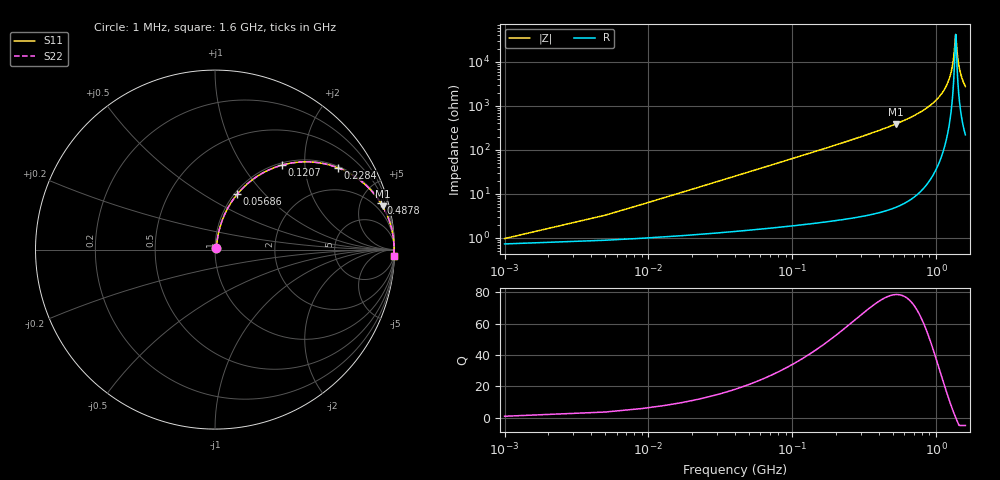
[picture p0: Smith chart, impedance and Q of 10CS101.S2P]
! Coilcraft 1008CS-101 Chip Inductor
! 02 July 2002
# MHZ S MA R 50
!Freq  MagS11  AngS11  MagS21  AngS21  MagS12  AngS12  MagS22  AngS22
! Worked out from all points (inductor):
!   402 points, 1 MHz to 1.6 GHz, reference 50 ohm
!   read as one part in series: L = 100 nH near 8.98 MHz
!   highest Q = 78.6 at 523.7 MHz (marker M1), where L = 117 nH
!   self-resonance near 1.37 GHz
!   S11 on the Smith chart (normalised r, x): 1 MHz: 1.01, +0.01; 56.86 MHz: 1.03, +0.72; 120.7 MHz: 1.04, +1.53; 228.4 MHz: 1.05, +2.95; 487.8 MHz: 1.09, +7.02; 1.6 GHz: 5, -55
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1  0.009525 40.6  0.9928 -0.4  0.9928 -0.4  0.009525 40.6
12.97  0.08106 78.0  0.9864 -4.6  0.9864 -4.6  0.08106 78.0
20.95  0.1296 77.5  0.9801 -7.4  0.9801 -7.4  0.1296 77.5
36.91  0.2236 73.7  0.9617 -12.9  0.9617 -12.9  0.2236 73.7
56.86  0.3327 68.1  0.9288 -19.4  0.9288 -19.4  0.3327 68.1
120.7  0.5999 51.7  0.7846 -36.8  0.7846 -36.8  0.5999 51.7
228.43  0.8213 33.8  0.5562 -55.2  0.5562 -55.2  0.8213 33.8
268.33  0.8627 29.5  0.492 -59.6  0.492 -59.6  0.8627 29.5
487.78  0.9585 15.8  0.2731 -73.4  0.2731 -73.4  0.9585 15.8
523.69  0.965 14.5  0.2504 -74.8  0.2504 -74.8  0.965 14.5
535.66  0.9669 14.1  0.2433 -75.2  0.2433 -75.2  0.9669 14.1
802.99  0.9896 7.4  0.1287 -81.7  0.1287 -81.7  0.9896 7.4
1070.32  0.9963 3.3  0.05774 -84.7  0.05774 -84.7  0.9963 3.3
1241.89  0.9976 1.3  0.02288 -83.3  0.02288 -83.3  0.9976 1.3
1297.75  0.9977 0.7  0.01275 -79.1  0.01275 -79.1  0.9977 0.7
1333.66  0.9977 0.4  0.006633 -69.3  0.006633 -69.3  0.9977 0.4
1361.59  0.9976 0.1  0.00275 -30.9  0.00275 -30.9  0.9976 0.1
1373.56  0.9976 -0.0  0.002458 14.4  0.002458 14.4  0.9976 -0.0
1413.46  0.9975 -0.4  0.007656 70.9  0.007656 70.9  0.9975 -0.4
1453.36  0.9974 -0.8  0.01394 78.7  0.01394 78.7  0.9974 -0.8
1517.2  0.997 -1.4  0.02384 82.2  0.02384 82.2  0.997 -1.4
1600  0.9965 -2.1  0.03619 83.4  0.03619 83.4  0.9965 -2.1
